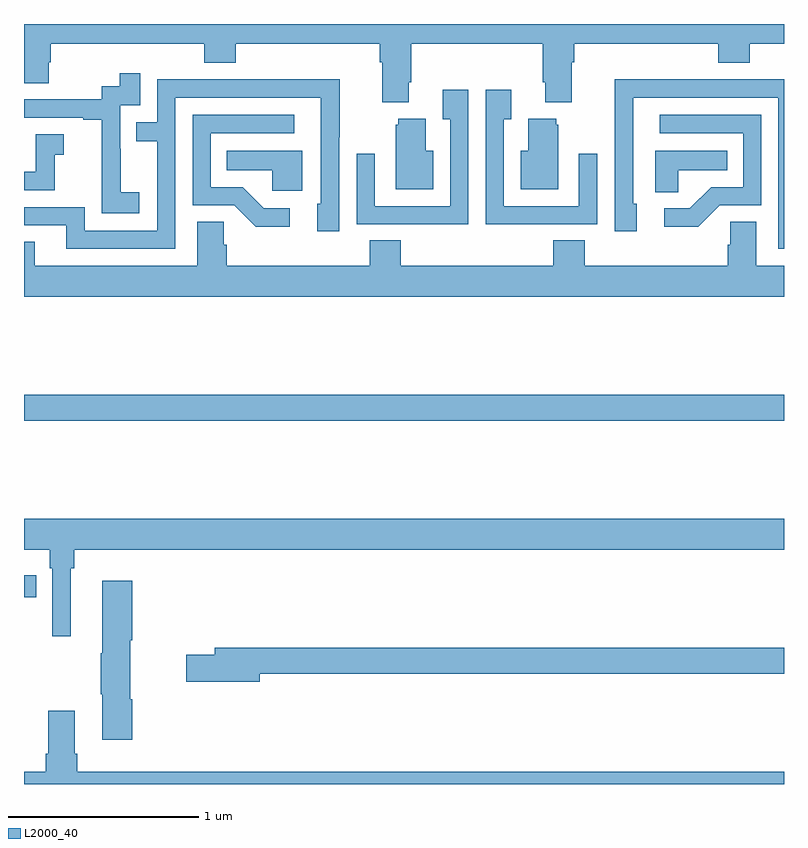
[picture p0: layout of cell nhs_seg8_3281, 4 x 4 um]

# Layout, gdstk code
import gdstk
lib = gdstk.Library(unit=1e-6, precision=1e-09)
def R(c, l, rs):  # rectangles x0, y0, x1, y1
    for r in rs: c.add(gdstk.rectangle(r[:2], r[2:], *l))
def P(c, l, *ps):  # polygons
    for p in ps: c.add(gdstk.Polygon(p, *l))
L2000_40 = (2000, 40)

nhs_seg8_3281 = lib.new_cell('nhs_seg8_3281')
R(nhs_seg8_3281, L2000_40, [(313,1150.882,313.064,1150.998), (313,1151.812,317,1151.948)])
P(nhs_seg8_3281, L2000_40, [(315.025,1153.594),(315.038,1153.594),(315.038,1153.796),(315.731,1153.796),(315.731,1153.594),(315.743,1153.594),(315.743,1153.487),(315.883,1153.487),(315.883,1153.7),(315.896,1153.7),(315.896,1153.796),(316.655,1153.796),(316.655,1153.697),(316.82,1153.697),(316.82,1153.796),(317,1153.796),(317,1153.9),(313,1153.9),(313,1153.588),(313.129,1153.588),(313.129,1153.698),(313.142,1153.698),(313.142,1153.796),(313.949,1153.796),(313.949,1153.697),(314.114,1153.697),(314.114,1153.796),(314.873,1153.796),(314.873,1153.7),(314.885,1153.7),(314.885,1153.487),(315.025,1153.487)],
  [(313.606,1153.015),(313.508,1153.015),(313.508,1153.244),(313.506,1153.244),(313.506,1153.473),(313.611,1153.473),(313.611,1153.642),(313.503,1153.642),(313.503,1153.572),(313.41,1153.572),(313.41,1153.503),(313,1153.503),(313,1153.407),(313.313,1153.407),(313.313,1153.395),(313.409,1153.395),(313.409,1153.111),(313.408,1153.111),(313.408,1152.905),(313.606,1152.905)],
  [(317,1153.608),(316.571,1153.608),(316.571,1153.61),(316.108,1153.61),(316.108,1153.303),(316.11,1153.303),(316.11,1152.81),(316.225,1152.81),(316.225,1152.954),(316.206,1152.954),(316.206,1153.512),(316.971,1153.512),(316.971,1152.717),(317,1152.717)],
  [(313.797,1153.512),(314.561,1153.512),(314.561,1153.261),(314.562,1153.261),(314.562,1152.954),(314.543,1152.954),(314.543,1152.81),(314.658,1152.81),(314.658,1153.303),(314.661,1153.303),(314.661,1153.61),(314.197,1153.61),(314.197,1153.608),(313.701,1153.608),(313.701,1153.383),(313.591,1153.383),(313.591,1153.282),(313.701,1153.282),(313.701,1152.813),(313.32,1152.813),(313.32,1152.936),(313,1152.936),(313,1152.84),(313.223,1152.84),(313.223,1152.717),(313.797,1152.717)],
  [(315.701,1152.846),(316.017,1152.846),(316.017,1153.216),(315.921,1153.216),(315.921,1152.942),(315.525,1152.942),(315.525,1153.399),(315.565,1153.399),(315.565,1153.555),(315.429,1153.555),(315.429,1152.845),(315.701,1152.845)],
  [(315.339,1153.555),(315.203,1153.555),(315.203,1153.399),(315.243,1153.399),(315.243,1152.942),(314.847,1152.942),(314.847,1153.216),(314.751,1153.216),(314.751,1152.846),(315.067,1152.846),(315.067,1152.845),(315.339,1152.845)],
  [(316.662,1152.945),(316.881,1152.945),(316.881,1153.422),(316.347,1153.422),(316.347,1153.326),(316.785,1153.326),(316.785,1153.041),(316.616,1153.041),(316.505,1152.93),(316.371,1152.93),(316.371,1152.833),(316.549,1152.833)],
  [(314.398,1152.93),(314.263,1152.93),(314.152,1153.041),(313.983,1153.041),(313.983,1153.326),(314.422,1153.326),(314.422,1153.422),(313.887,1153.422),(313.887,1152.945),(314.106,1152.945),(314.219,1152.833),(314.398,1152.833)],
  [(315.811,1153.371),(315.8,1153.371),(315.8,1153.402),(315.653,1153.402),(315.653,1153.234),(315.614,1153.234),(315.614,1153.031),(315.811,1153.031)],
  [(315.154,1153.234),(315.115,1153.234),(315.115,1153.402),(314.969,1153.402),(314.969,1153.371),(314.957,1153.371),(314.957,1153.031),(315.154,1153.031)],
  [(313.161,1153.211),(313.21,1153.211),(313.21,1153.321),(313.062,1153.321),(313.062,1153.122),(313,1153.122),(313,1153.026),(313.161,1153.026)],
  [(316.443,1153.13),(316.7,1153.13),(316.7,1153.234),(316.322,1153.234),(316.322,1153.015),(316.443,1153.015)],
  [(314.464,1153.234),(314.068,1153.234),(314.068,1153.13),(314.307,1153.13),(314.307,1153.022),(314.464,1153.022)],
  [(317,1152.628),(316.855,1152.628),(316.855,1152.86),(316.716,1152.86),(316.716,1152.737),(316.703,1152.737),(316.703,1152.628),(315.95,1152.628),(315.95,1152.761),(315.785,1152.761),(315.785,1152.628),(314.984,1152.628),(314.984,1152.761),(314.819,1152.761),(314.819,1152.628),(314.066,1152.628),(314.066,1152.737),(314.052,1152.737),(314.052,1152.86),(313.913,1152.86),(313.913,1152.628),(313.057,1152.628),(313.057,1152.755),(313,1152.755),(313,1152.464),(317,1152.464)],
  [(313.246,1151.036),(313.265,1151.036),(313.265,1151.132),(317,1151.132),(317,1151.296),(313,1151.296),(313,1151.132),(313.136,1151.132),(313.136,1151.036),(313.149,1151.036),(313.149,1150.677),(313.246,1150.677)],
  [(313.571,1150.346),(313.558,1150.346),(313.558,1150.656),(313.571,1150.656),(313.571,1150.969),(313.412,1150.969),(313.412,1150.589),(313.405,1150.589),(313.405,1150.372),(313.412,1150.372),(313.412,1150.134),(313.571,1150.134)],
  [(314.242,1150.48),(317,1150.48),(317,1150.616),(314.003,1150.616),(314.003,1150.58),(313.854,1150.58),(313.854,1150.438),(314.242,1150.438)],
  [(317,1149.964),(313.28,1149.964),(313.28,1150.06),(313.267,1150.06),(313.267,1150.285),(313.127,1150.285),(313.127,1150.06),(313.115,1150.06),(313.115,1149.964),(313,1149.964),(313,1149.9),(317,1149.9)])

lib.write_gds('nhs_seg8_3281.gds')
